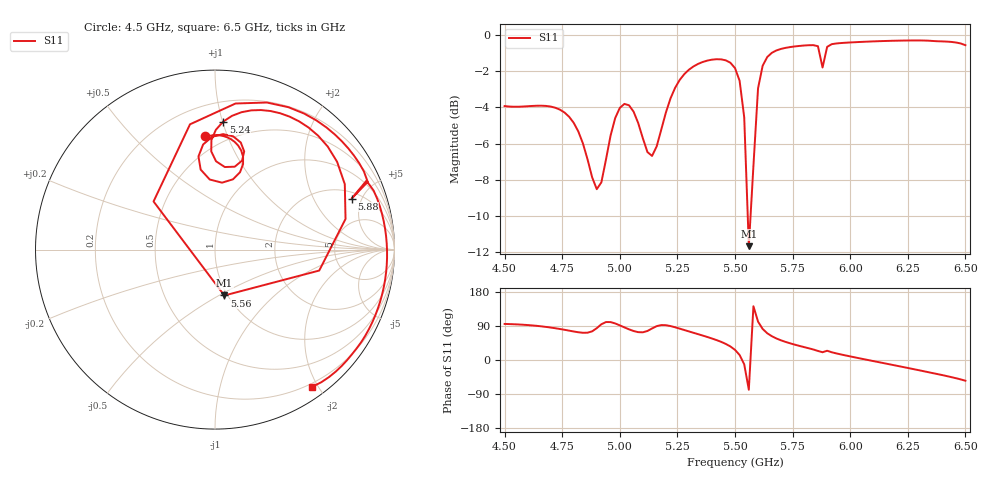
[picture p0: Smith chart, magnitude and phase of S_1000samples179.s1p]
! TOUCHSTONE file generated by CST MICROWAVE STUDIO
! Date and time: Thu Oct 27 06:49:07 2022
! Project name: L.cst
! Parameters = {Di=1.27; Epsilon_r=1.56; InnerDiameter=1.27; Length=2; Lf=10; Lg=60; OuterConductorThickness=0.2921; OuterDiameter=3.6; Wf=3; Wp=41.2; de=1.5; df=6.8; g=0.8; gx=1.0722; gy=4.16817; h=2.34; hf=1.524; px=14.4085; py=14.0459; w=9.7; wx=13.3363; wy=9.87775}
! Header version: 2018
! Port assignment regex: !\s*Touchstone port\s*([0-9]+)\s*=\s*(CST MWS port|CST DS port)\s*([0-9]+|Zmin|Zmax)\s*\(\"(.*)\"\)(\s*mode\s*([0-9]+))?.*
! Touchstone port assignment:
! Touchstone port 1 = CST MWS port 1 ("")
# GHz S DB R 50
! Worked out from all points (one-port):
!   101 points, 4.5 GHz to 6.5 GHz, reference 50 ohm
!   lowest |S11| = -11.7 dB at 5.56 GHz (marker M1), VSWR 1.71, Z = 48.3 - j26.5 ohm
!   |S11| at or under -10 dB: 5.555314 GHz to 5.567522 GHz (12.21 MHz wide, 0.22 % of centre)
!   S11 on the Smith chart (normalised r, x): 4.5 GHz: 0.39, +0.83; 5.24 GHz: 0.34, +1.00; 5.56 GHz: 0.97, -0.53; 5.88 GHz: 2.46, +4.13; 6.5 GHz: 0.15, -1.93
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4.5  -3.93 95.2
4.76  -4.29 79.7
4.84  -6.00 71.8
4.9  -8.52 84.0
4.96  -5.56 100.1
5  -4.03 91.4
5.08  -4.87 73.4
5.14  -6.68 83.2
5.18  -5.23 92.2
5.24  -2.92 86.4
5.26  -2.49 82.8
5.4  -1.37 56.7
5.46  -1.40 42.4
5.5  -1.83 26.8
5.52  -2.53 13.2
5.54  -4.55 -11.4
5.56  -11.67 -78.5
5.58  -7.23 141.9
5.6  -2.95 101.3
5.62  -1.70 82.0
5.68  -0.85 56.7
5.76  -0.63 40.4
5.86  -0.62 23.9
5.88  -1.80 20.5
5.9  -0.66 24.5
6  -0.42 9.5
6.26  -0.31 -22.2
6.5  -0.57 -54.6
